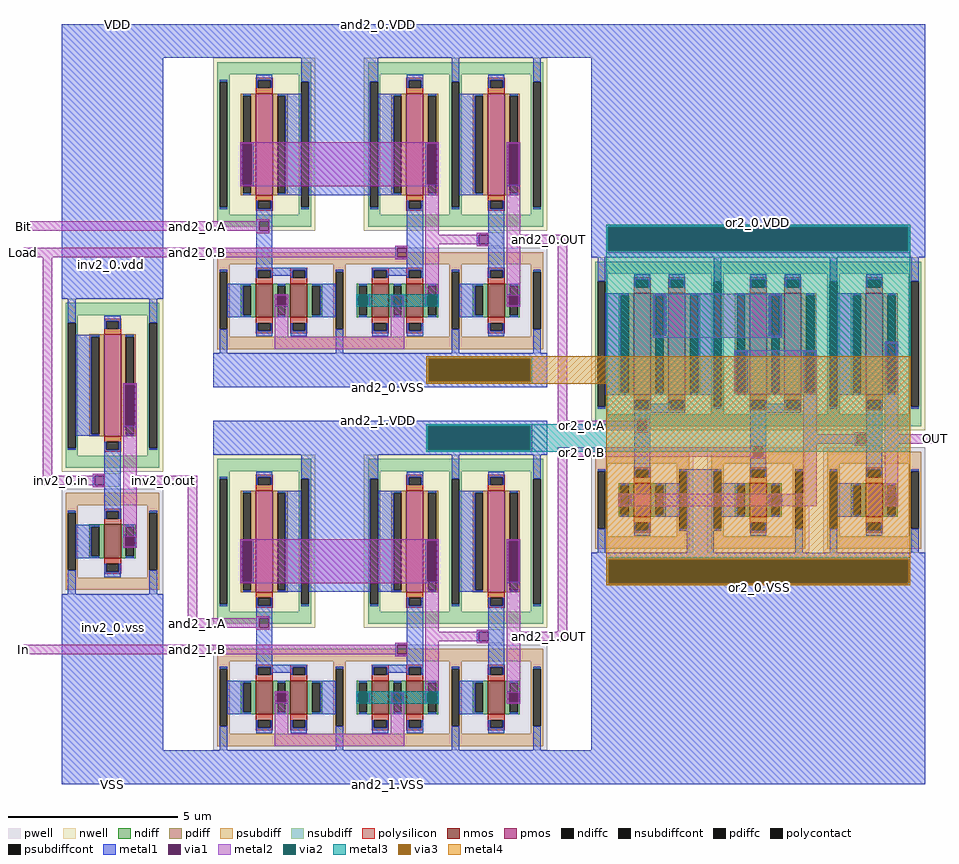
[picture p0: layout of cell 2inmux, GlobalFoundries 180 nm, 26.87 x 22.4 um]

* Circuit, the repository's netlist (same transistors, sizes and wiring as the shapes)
* NGSPICE file created from 2inmux.ext - technology: gf180mcuD

.subckt or2 VDD VSS OUT A B
X0 OUT a_268_670# VSS VSS nfet_03v3 ad=0.44p pd=2.88u as=0.44p ps=2.88u w=1u l=0.5u
X1 OUT a_268_670# VDD VDD pfet_03v3 ad=1.32p pd=6.88u as=1.32p ps=6.88u w=3u l=0.5u
X2 a_456_1390# A VDD VDD pfet_03v3 ad=0.78p pd=3.52u as=1.32p ps=6.88u w=3u l=0.5u
X3 a_456_1390# B a_268_670# VDD pfet_03v3 ad=0.78p pd=3.52u as=1.32p ps=6.88u w=3u l=0.5u
X4 a_268_670# B a_456_1390# VDD pfet_03v3 ad=1.32p pd=6.88u as=0.78p ps=3.52u w=3u l=0.5u
X5 VSS A a_268_670# VSS nfet_03v3 ad=0.44p pd=2.88u as=0.44p ps=2.88u w=1u l=0.5u
X6 VDD A a_456_1390# VDD pfet_03v3 ad=1.32p pd=6.88u as=0.78p ps=3.52u w=3u l=0.5u
X7 a_268_670# B VSS VSS nfet_03v3 ad=0.44p pd=2.88u as=0.44p ps=2.88u w=1u l=0.5u
.ends

.subckt inv2 in vdd out vss
X0 out in vdd vdd pfet_03v3 ad=1.32p pd=6.88u as=1.32p ps=6.88u w=3u l=0.5u
X1 out in vss vss nfet_03v3 ad=0.44p pd=2.88u as=0.44p ps=2.88u w=1u l=0.5u
.ends

.subckt and2 VDD OUT A B VSS
X0 a_n1203_400# B a_n1391_1120# VSS nfet_03v3 ad=0.26p pd=1.52u as=0.44p ps=2.88u w=1u l=0.5u
X1 a_n1203_400# A VSS VSS nfet_03v3 ad=0.26p pd=1.52u as=0.44p ps=2.88u w=1u l=0.5u
X2 a_n1391_1120# B VDD VDD pfet_03v3 ad=1.32p pd=6.88u as=1.32p ps=6.88u w=3u l=0.5u
X3 OUT a_n1391_1120# VDD VDD pfet_03v3 ad=1.32p pd=6.88u as=1.32p ps=6.88u w=3u l=0.5u
X4 OUT a_n1391_1120# VSS VSS nfet_03v3 ad=0.44p pd=2.88u as=0.44p ps=2.88u w=1u l=0.5u
X5 VSS A a_n1203_400# VSS nfet_03v3 ad=0.44p pd=2.88u as=0.26p ps=1.52u w=1u l=0.5u
X6 VDD A a_n1391_1120# VDD pfet_03v3 ad=1.32p pd=6.88u as=1.32p ps=6.88u w=3u l=0.5u
X7 a_n1391_1120# B a_n1203_400# VSS nfet_03v3 ad=0.44p pd=2.88u as=0.26p ps=1.52u w=1u l=0.5u
.ends

.subckt x2inmux Bit Load VDD OUT VSS In
Xor2_0 VDD VSS OUT or2_0/A or2_0/B or2
Xinv2_0 Load VDD and2_1/A VSS inv2
Xand2_0 VDD or2_0/A Bit Load VSS and2
Xand2_1 VDD or2_0/B and2_1/A In VSS and2
.ends

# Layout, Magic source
magic
tech gf180mcuD
magscale 1 10
<< nwell >>
rect 94 920 694 1940
rect 982 920 2062 1940
rect -800 -500 -200 520
rect 2322 -256 4290 764
rect 94 -1420 694 -400
rect 982 -1420 2062 -400
<< pwell >>
rect 1714 831 1800 911
rect 94 200 2062 820
rect 3942 -345 4028 -265
rect -548 -589 -462 -509
rect -800 -1220 -200 -600
rect 2322 -976 2922 -356
rect 3006 -446 3606 -356
rect 3006 -704 3652 -446
rect 3006 -976 3606 -704
rect 3690 -976 4290 -356
rect 1714 -1509 1800 -1429
rect 94 -2140 2062 -1520
<< nmos >>
rect 344 410 444 610
rect 548 410 648 610
rect 1028 410 1128 610
rect 1232 410 1332 610
rect 1712 410 1812 610
rect -550 -1010 -450 -810
rect 2572 -766 2672 -566
rect 3256 -766 3356 -566
rect 3940 -766 4040 -566
rect 344 -1930 444 -1730
rect 548 -1930 648 -1730
rect 1028 -1930 1128 -1730
rect 1232 -1930 1332 -1730
rect 1712 -1930 1812 -1730
<< pmos >>
rect 344 1130 444 1730
rect 1232 1130 1332 1730
rect 1712 1130 1812 1730
rect -550 -290 -450 310
rect 2572 -46 2672 554
rect 2776 -46 2876 554
rect 3256 -46 3356 554
rect 3460 -46 3560 554
rect 3940 -46 4040 554
rect 344 -1210 444 -610
rect 1232 -1210 1332 -610
rect 1712 -1210 1812 -610
<< ndiff >>
rect 256 597 344 610
rect 256 423 269 597
rect 315 423 344 597
rect 256 410 344 423
rect 444 597 548 610
rect 444 423 473 597
rect 519 423 548 597
rect 444 410 548 423
rect 648 597 736 610
rect 648 423 677 597
rect 723 423 736 597
rect 648 410 736 423
rect 940 597 1028 610
rect 940 423 953 597
rect 999 423 1028 597
rect 940 410 1028 423
rect 1128 597 1232 610
rect 1128 423 1157 597
rect 1203 423 1232 597
rect 1128 410 1232 423
rect 1332 597 1420 610
rect 1332 423 1361 597
rect 1407 423 1420 597
rect 1332 410 1420 423
rect 1624 597 1712 610
rect 1624 423 1637 597
rect 1683 423 1712 597
rect 1624 410 1712 423
rect 1812 597 1900 610
rect 1812 423 1841 597
rect 1887 423 1900 597
rect 1812 410 1900 423
rect -638 -823 -550 -810
rect -638 -997 -625 -823
rect -579 -997 -550 -823
rect -638 -1010 -550 -997
rect -450 -823 -362 -810
rect -450 -997 -421 -823
rect -375 -997 -362 -823
rect -450 -1010 -362 -997
rect 2484 -579 2572 -566
rect 2484 -753 2497 -579
rect 2543 -753 2572 -579
rect 2484 -766 2572 -753
rect 2672 -579 2760 -566
rect 2672 -753 2701 -579
rect 2747 -753 2760 -579
rect 2672 -766 2760 -753
rect 3168 -579 3256 -566
rect 3168 -753 3181 -579
rect 3227 -753 3256 -579
rect 3168 -766 3256 -753
rect 3356 -579 3444 -566
rect 3356 -753 3385 -579
rect 3431 -753 3444 -579
rect 3356 -766 3444 -753
rect 3852 -579 3940 -566
rect 3852 -753 3865 -579
rect 3911 -753 3940 -579
rect 3852 -766 3940 -753
rect 4040 -579 4128 -566
rect 4040 -753 4069 -579
rect 4115 -753 4128 -579
rect 4040 -766 4128 -753
rect 256 -1743 344 -1730
rect 256 -1917 269 -1743
rect 315 -1917 344 -1743
rect 256 -1930 344 -1917
rect 444 -1743 548 -1730
rect 444 -1917 473 -1743
rect 519 -1917 548 -1743
rect 444 -1930 548 -1917
rect 648 -1743 736 -1730
rect 648 -1917 677 -1743
rect 723 -1917 736 -1743
rect 648 -1930 736 -1917
rect 940 -1743 1028 -1730
rect 940 -1917 953 -1743
rect 999 -1917 1028 -1743
rect 940 -1930 1028 -1917
rect 1128 -1743 1232 -1730
rect 1128 -1917 1157 -1743
rect 1203 -1917 1232 -1743
rect 1128 -1930 1232 -1917
rect 1332 -1743 1420 -1730
rect 1332 -1917 1361 -1743
rect 1407 -1917 1420 -1743
rect 1332 -1930 1420 -1917
rect 1624 -1743 1712 -1730
rect 1624 -1917 1637 -1743
rect 1683 -1917 1712 -1743
rect 1624 -1930 1712 -1917
rect 1812 -1743 1900 -1730
rect 1812 -1917 1841 -1743
rect 1887 -1917 1900 -1743
rect 1812 -1930 1900 -1917
<< pdiff >>
rect 256 1717 344 1730
rect 256 1143 269 1717
rect 315 1143 344 1717
rect 256 1130 344 1143
rect 444 1717 532 1730
rect 444 1143 473 1717
rect 519 1143 532 1717
rect 444 1130 532 1143
rect 1144 1717 1232 1730
rect 1144 1143 1157 1717
rect 1203 1143 1232 1717
rect 1144 1130 1232 1143
rect 1332 1717 1420 1730
rect 1332 1143 1361 1717
rect 1407 1143 1420 1717
rect 1332 1130 1420 1143
rect 1624 1717 1712 1730
rect 1624 1143 1637 1717
rect 1683 1143 1712 1717
rect 1624 1130 1712 1143
rect 1812 1717 1900 1730
rect 1812 1143 1841 1717
rect 1887 1143 1900 1717
rect 1812 1130 1900 1143
rect -638 297 -550 310
rect -638 -277 -625 297
rect -579 -277 -550 297
rect -638 -290 -550 -277
rect -450 297 -362 310
rect -450 -277 -421 297
rect -375 -277 -362 297
rect -450 -290 -362 -277
rect 2484 541 2572 554
rect 2484 -33 2497 541
rect 2543 -33 2572 541
rect 2484 -46 2572 -33
rect 2672 541 2776 554
rect 2672 -33 2701 541
rect 2747 -33 2776 541
rect 2672 -46 2776 -33
rect 2876 541 2964 554
rect 2876 -33 2905 541
rect 2951 -33 2964 541
rect 2876 -46 2964 -33
rect 3168 541 3256 554
rect 3168 -33 3181 541
rect 3227 -33 3256 541
rect 3168 -46 3256 -33
rect 3356 541 3460 554
rect 3356 -33 3385 541
rect 3431 -33 3460 541
rect 3356 -46 3460 -33
rect 3560 541 3648 554
rect 3560 -33 3589 541
rect 3635 -33 3648 541
rect 3560 -46 3648 -33
rect 3852 541 3940 554
rect 3852 -33 3865 541
rect 3911 -33 3940 541
rect 3852 -46 3940 -33
rect 4040 541 4128 554
rect 4040 -33 4069 541
rect 4115 -33 4128 541
rect 4040 -46 4128 -33
rect 256 -623 344 -610
rect 256 -1197 269 -623
rect 315 -1197 344 -623
rect 256 -1210 344 -1197
rect 444 -623 532 -610
rect 444 -1197 473 -623
rect 519 -1197 532 -623
rect 444 -1210 532 -1197
rect 1144 -623 1232 -610
rect 1144 -1197 1157 -623
rect 1203 -1197 1232 -623
rect 1144 -1210 1232 -1197
rect 1332 -623 1420 -610
rect 1332 -1197 1361 -623
rect 1407 -1197 1420 -623
rect 1332 -1210 1420 -1197
rect 1624 -623 1712 -610
rect 1624 -1197 1637 -623
rect 1683 -1197 1712 -623
rect 1624 -1210 1712 -1197
rect 1812 -623 1900 -610
rect 1812 -1197 1841 -623
rect 1887 -1197 1900 -623
rect 1812 -1210 1900 -1197
<< ndiffc >>
rect 269 423 315 597
rect 473 423 519 597
rect 677 423 723 597
rect 953 423 999 597
rect 1157 423 1203 597
rect 1361 423 1407 597
rect 1637 423 1683 597
rect 1841 423 1887 597
rect -625 -997 -579 -823
rect -421 -997 -375 -823
rect 2497 -753 2543 -579
rect 2701 -753 2747 -579
rect 3181 -753 3227 -579
rect 3385 -753 3431 -579
rect 3865 -753 3911 -579
rect 4069 -753 4115 -579
rect 269 -1917 315 -1743
rect 473 -1917 519 -1743
rect 677 -1917 723 -1743
rect 953 -1917 999 -1743
rect 1157 -1917 1203 -1743
rect 1361 -1917 1407 -1743
rect 1637 -1917 1683 -1743
rect 1841 -1917 1887 -1743
<< pdiffc >>
rect 269 1143 315 1717
rect 473 1143 519 1717
rect 1157 1143 1203 1717
rect 1361 1143 1407 1717
rect 1637 1143 1683 1717
rect 1841 1143 1887 1717
rect -625 -277 -579 297
rect -421 -277 -375 297
rect 2497 -33 2543 541
rect 2701 -33 2747 541
rect 2905 -33 2951 541
rect 3181 -33 3227 541
rect 3385 -33 3431 541
rect 3589 -33 3635 541
rect 3865 -33 3911 541
rect 4069 -33 4115 541
rect 269 -1197 315 -623
rect 473 -1197 519 -623
rect 1157 -1197 1203 -623
rect 1361 -1197 1407 -623
rect 1637 -1197 1683 -623
rect 1841 -1197 1887 -623
<< psubdiff >>
rect 118 724 2038 796
rect 118 680 190 724
rect 118 340 131 680
rect 177 340 190 680
rect 802 680 874 724
rect 118 296 190 340
rect 802 340 815 680
rect 861 340 874 680
rect 1486 680 1558 724
rect 802 296 874 340
rect 1486 340 1499 680
rect 1545 340 1558 680
rect 1966 680 2038 724
rect 1486 296 1558 340
rect 1966 340 1979 680
rect 2025 340 2038 680
rect 1966 296 2038 340
rect 118 224 2038 296
rect -776 -696 -224 -624
rect -776 -740 -704 -696
rect -776 -1080 -763 -740
rect -717 -1080 -704 -740
rect -296 -740 -224 -696
rect -776 -1124 -704 -1080
rect -296 -1080 -283 -740
rect -237 -1080 -224 -740
rect -296 -1124 -224 -1080
rect -776 -1196 -224 -1124
rect 2346 -452 2898 -380
rect 2346 -496 2418 -452
rect 2346 -836 2359 -496
rect 2405 -836 2418 -496
rect 2826 -496 2898 -452
rect 2346 -880 2418 -836
rect 2826 -836 2839 -496
rect 2885 -836 2898 -496
rect 2826 -880 2898 -836
rect 2346 -952 2898 -880
rect 3030 -452 3582 -380
rect 3030 -496 3102 -452
rect 3030 -836 3043 -496
rect 3089 -836 3102 -496
rect 3510 -496 3582 -452
rect 3030 -880 3102 -836
rect 3510 -836 3523 -496
rect 3569 -836 3582 -496
rect 3510 -880 3582 -836
rect 3030 -952 3582 -880
rect 3714 -452 4266 -380
rect 3714 -496 3786 -452
rect 3714 -836 3727 -496
rect 3773 -836 3786 -496
rect 4194 -496 4266 -452
rect 3714 -880 3786 -836
rect 4194 -836 4207 -496
rect 4253 -836 4266 -496
rect 4194 -880 4266 -836
rect 3714 -952 4266 -880
rect 118 -1616 2038 -1544
rect 118 -1660 190 -1616
rect 118 -2000 131 -1660
rect 177 -2000 190 -1660
rect 802 -1660 874 -1616
rect 118 -2044 190 -2000
rect 802 -2000 815 -1660
rect 861 -2000 874 -1660
rect 1486 -1660 1558 -1616
rect 802 -2044 874 -2000
rect 1486 -2000 1499 -1660
rect 1545 -2000 1558 -1660
rect 1966 -1660 2038 -1616
rect 1486 -2044 1558 -2000
rect 1966 -2000 1979 -1660
rect 2025 -2000 2038 -1660
rect 1966 -2044 2038 -2000
rect 118 -2116 2038 -2044
<< nsubdiff >>
rect 118 1844 670 1916
rect 118 1800 190 1844
rect 118 1060 131 1800
rect 177 1060 190 1800
rect 598 1800 670 1844
rect 118 1016 190 1060
rect 598 1060 611 1800
rect 657 1060 670 1800
rect 598 1016 670 1060
rect 118 944 670 1016
rect 1006 1844 2038 1916
rect 1006 1800 1078 1844
rect 1006 1060 1019 1800
rect 1065 1060 1078 1800
rect 1486 1800 1558 1844
rect 1006 1016 1078 1060
rect 1486 1060 1499 1800
rect 1545 1060 1558 1800
rect 1966 1800 2038 1844
rect 1486 1016 1558 1060
rect 1966 1060 1979 1800
rect 2025 1060 2038 1800
rect 1966 1016 2038 1060
rect 1006 944 2038 1016
rect -776 424 -224 496
rect -776 380 -704 424
rect -776 -360 -763 380
rect -717 -360 -704 380
rect -296 380 -224 424
rect -776 -404 -704 -360
rect -296 -360 -283 380
rect -237 -360 -224 380
rect 2346 668 4266 740
rect 2346 624 2418 668
rect 2346 -116 2359 624
rect 2405 -116 2418 624
rect 3030 624 3102 668
rect 2346 -160 2418 -116
rect 3030 -116 3043 624
rect 3089 -116 3102 624
rect 3714 624 3786 668
rect 3030 -160 3102 -116
rect 3714 -116 3727 624
rect 3773 -116 3786 624
rect 4194 624 4266 668
rect 3714 -160 3786 -116
rect 4194 -116 4207 624
rect 4253 -116 4266 624
rect 4194 -160 4266 -116
rect 2346 -232 4266 -160
rect -296 -404 -224 -360
rect -776 -476 -224 -404
rect 118 -496 670 -424
rect 118 -540 190 -496
rect 118 -1280 131 -540
rect 177 -1280 190 -540
rect 598 -540 670 -496
rect 118 -1324 190 -1280
rect 598 -1280 611 -540
rect 657 -1280 670 -540
rect 598 -1324 670 -1280
rect 118 -1396 670 -1324
rect 1006 -496 2038 -424
rect 1006 -540 1078 -496
rect 1006 -1280 1019 -540
rect 1065 -1280 1078 -540
rect 1486 -540 1558 -496
rect 1006 -1324 1078 -1280
rect 1486 -1280 1499 -540
rect 1545 -1280 1558 -540
rect 1966 -540 2038 -496
rect 1486 -1324 1558 -1280
rect 1966 -1280 1979 -540
rect 2025 -1280 2038 -540
rect 1966 -1324 2038 -1280
rect 1006 -1396 2038 -1324
<< psubdiffcont >>
rect 131 340 177 680
rect 815 340 861 680
rect 1499 340 1545 680
rect 1979 340 2025 680
rect -763 -1080 -717 -740
rect -283 -1080 -237 -740
rect 2359 -836 2405 -496
rect 2839 -836 2885 -496
rect 3043 -836 3089 -496
rect 3523 -836 3569 -496
rect 3727 -836 3773 -496
rect 4207 -836 4253 -496
rect 131 -2000 177 -1660
rect 815 -2000 861 -1660
rect 1499 -2000 1545 -1660
rect 1979 -2000 2025 -1660
<< nsubdiffcont >>
rect 131 1060 177 1800
rect 611 1060 657 1800
rect 1019 1060 1065 1800
rect 1499 1060 1545 1800
rect 1979 1060 2025 1800
rect -763 -360 -717 380
rect -283 -360 -237 380
rect 2359 -116 2405 624
rect 3043 -116 3089 624
rect 3727 -116 3773 624
rect 4207 -116 4253 624
rect 131 -1280 177 -540
rect 611 -1280 657 -540
rect 1019 -1280 1065 -540
rect 1499 -1280 1545 -540
rect 1979 -1280 2025 -540
<< polysilicon >>
rect 344 1809 444 1822
rect 344 1763 357 1809
rect 431 1763 444 1809
rect 344 1730 444 1763
rect 344 1097 444 1130
rect 344 1051 357 1097
rect 431 1051 444 1097
rect 344 1038 444 1051
rect 1232 1809 1332 1822
rect 1232 1763 1245 1809
rect 1319 1763 1332 1809
rect 1232 1730 1332 1763
rect 1232 1097 1332 1130
rect 1232 1051 1245 1097
rect 1319 1051 1332 1097
rect 1232 1038 1332 1051
rect 1712 1809 1812 1822
rect 1712 1763 1725 1809
rect 1799 1763 1812 1809
rect 1712 1730 1812 1763
rect 1712 1097 1812 1130
rect 1712 1051 1725 1097
rect 1799 1051 1812 1097
rect 1712 1038 1812 1051
rect -550 389 -450 402
rect -550 343 -537 389
rect -463 343 -450 389
rect -550 310 -450 343
rect -550 -323 -450 -290
rect -550 -369 -537 -323
rect -463 -369 -450 -323
rect -550 -382 -450 -369
rect 344 689 444 702
rect 344 643 357 689
rect 431 643 444 689
rect 344 610 444 643
rect 548 689 648 702
rect 548 643 561 689
rect 635 643 648 689
rect 548 610 648 643
rect 344 377 444 410
rect 344 331 357 377
rect 431 331 444 377
rect 344 318 444 331
rect 548 377 648 410
rect 548 331 561 377
rect 635 331 648 377
rect 548 318 648 331
rect 1028 689 1128 702
rect 1028 643 1041 689
rect 1115 643 1128 689
rect 1028 610 1128 643
rect 1232 689 1332 702
rect 1232 643 1245 689
rect 1319 643 1332 689
rect 1232 610 1332 643
rect 1028 377 1128 410
rect 1028 331 1041 377
rect 1115 331 1128 377
rect 1028 318 1128 331
rect 1232 377 1332 410
rect 1232 331 1245 377
rect 1319 331 1332 377
rect 1232 318 1332 331
rect 1712 689 1812 702
rect 1712 643 1725 689
rect 1799 643 1812 689
rect 1712 610 1812 643
rect 1712 377 1812 410
rect 1712 331 1725 377
rect 1799 331 1812 377
rect 1712 318 1812 331
rect 2572 633 2672 646
rect 2572 587 2585 633
rect 2659 587 2672 633
rect 2572 554 2672 587
rect 2776 633 2876 646
rect 2776 587 2789 633
rect 2863 587 2876 633
rect 2776 554 2876 587
rect 2572 -79 2672 -46
rect 2572 -125 2585 -79
rect 2659 -125 2672 -79
rect 2572 -138 2672 -125
rect 2776 -79 2876 -46
rect 2776 -125 2789 -79
rect 2863 -125 2876 -79
rect 2776 -138 2876 -125
rect 3256 633 3356 646
rect 3256 587 3269 633
rect 3343 587 3356 633
rect 3256 554 3356 587
rect 3460 633 3560 646
rect 3460 587 3473 633
rect 3547 587 3560 633
rect 3460 554 3560 587
rect 3256 -79 3356 -46
rect 3256 -125 3269 -79
rect 3343 -125 3356 -79
rect 3256 -138 3356 -125
rect 3460 -79 3560 -46
rect 3460 -125 3473 -79
rect 3547 -125 3560 -79
rect 3460 -138 3560 -125
rect 3940 633 4040 646
rect 3940 587 3953 633
rect 4027 587 4040 633
rect 3940 554 4040 587
rect 3940 -79 4040 -46
rect 3940 -125 3953 -79
rect 4027 -125 4040 -79
rect 3940 -138 4040 -125
rect -550 -731 -450 -718
rect -550 -777 -537 -731
rect -463 -777 -450 -731
rect -550 -810 -450 -777
rect -550 -1043 -450 -1010
rect -550 -1089 -537 -1043
rect -463 -1089 -450 -1043
rect -550 -1102 -450 -1089
rect 344 -531 444 -518
rect 344 -577 357 -531
rect 431 -577 444 -531
rect 344 -610 444 -577
rect 344 -1243 444 -1210
rect 344 -1289 357 -1243
rect 431 -1289 444 -1243
rect 344 -1302 444 -1289
rect 1232 -531 1332 -518
rect 1232 -577 1245 -531
rect 1319 -577 1332 -531
rect 1232 -610 1332 -577
rect 1232 -1243 1332 -1210
rect 1232 -1289 1245 -1243
rect 1319 -1289 1332 -1243
rect 1232 -1302 1332 -1289
rect 1712 -531 1812 -518
rect 1712 -577 1725 -531
rect 1799 -577 1812 -531
rect 1712 -610 1812 -577
rect 1712 -1243 1812 -1210
rect 1712 -1289 1725 -1243
rect 1799 -1289 1812 -1243
rect 1712 -1302 1812 -1289
rect 2572 -487 2672 -474
rect 2572 -533 2585 -487
rect 2659 -533 2672 -487
rect 2572 -566 2672 -533
rect 2572 -799 2672 -766
rect 2572 -845 2585 -799
rect 2659 -845 2672 -799
rect 2572 -858 2672 -845
rect 3256 -487 3356 -474
rect 3256 -533 3269 -487
rect 3343 -533 3356 -487
rect 3256 -566 3356 -533
rect 3256 -799 3356 -766
rect 3256 -845 3269 -799
rect 3343 -845 3356 -799
rect 3256 -858 3356 -845
rect 3940 -487 4040 -474
rect 3940 -533 3953 -487
rect 4027 -533 4040 -487
rect 3940 -566 4040 -533
rect 3940 -799 4040 -766
rect 3940 -845 3953 -799
rect 4027 -845 4040 -799
rect 3940 -858 4040 -845
rect 344 -1651 444 -1638
rect 344 -1697 357 -1651
rect 431 -1697 444 -1651
rect 344 -1730 444 -1697
rect 548 -1651 648 -1638
rect 548 -1697 561 -1651
rect 635 -1697 648 -1651
rect 548 -1730 648 -1697
rect 344 -1963 444 -1930
rect 344 -2009 357 -1963
rect 431 -2009 444 -1963
rect 344 -2022 444 -2009
rect 548 -1963 648 -1930
rect 548 -2009 561 -1963
rect 635 -2009 648 -1963
rect 548 -2022 648 -2009
rect 1028 -1651 1128 -1638
rect 1028 -1697 1041 -1651
rect 1115 -1697 1128 -1651
rect 1028 -1730 1128 -1697
rect 1232 -1651 1332 -1638
rect 1232 -1697 1245 -1651
rect 1319 -1697 1332 -1651
rect 1232 -1730 1332 -1697
rect 1028 -1963 1128 -1930
rect 1028 -2009 1041 -1963
rect 1115 -2009 1128 -1963
rect 1028 -2022 1128 -2009
rect 1232 -1963 1332 -1930
rect 1232 -2009 1245 -1963
rect 1319 -2009 1332 -1963
rect 1232 -2022 1332 -2009
rect 1712 -1651 1812 -1638
rect 1712 -1697 1725 -1651
rect 1799 -1697 1812 -1651
rect 1712 -1730 1812 -1697
rect 1712 -1963 1812 -1930
rect 1712 -2009 1725 -1963
rect 1799 -2009 1812 -1963
rect 1712 -2022 1812 -2009
<< polycontact >>
rect 357 1763 431 1809
rect 357 1051 431 1097
rect 1245 1763 1319 1809
rect 1245 1051 1319 1097
rect 1725 1763 1799 1809
rect 1725 1051 1799 1097
rect -537 343 -463 389
rect -537 -369 -463 -323
rect 357 643 431 689
rect 561 643 635 689
rect 357 331 431 377
rect 561 331 635 377
rect 1041 643 1115 689
rect 1245 643 1319 689
rect 1041 331 1115 377
rect 1245 331 1319 377
rect 1725 643 1799 689
rect 1725 331 1799 377
rect 2585 587 2659 633
rect 2789 587 2863 633
rect 2585 -125 2659 -79
rect 2789 -125 2863 -79
rect 3269 587 3343 633
rect 3473 587 3547 633
rect 3269 -125 3343 -79
rect 3473 -125 3547 -79
rect 3953 587 4027 633
rect 3953 -125 4027 -79
rect -537 -777 -463 -731
rect -537 -1089 -463 -1043
rect 357 -577 431 -531
rect 357 -1289 431 -1243
rect 1245 -577 1319 -531
rect 1245 -1289 1319 -1243
rect 1725 -577 1799 -531
rect 1725 -1289 1799 -1243
rect 2585 -533 2659 -487
rect 2585 -845 2659 -799
rect 3269 -533 3343 -487
rect 3269 -845 3343 -799
rect 3953 -533 4027 -487
rect 3953 -845 4027 -799
rect 357 -1697 431 -1651
rect 561 -1697 635 -1651
rect 357 -2009 431 -1963
rect 561 -2009 635 -1963
rect 1041 -1697 1115 -1651
rect 1245 -1697 1319 -1651
rect 1041 -2009 1115 -1963
rect 1245 -2009 1319 -1963
rect 1725 -1697 1799 -1651
rect 1725 -2009 1799 -1963
<< metal1 >>
rect -800 1940 4290 2140
rect -800 520 -200 1940
rect 131 1800 177 1811
rect 346 1809 442 1840
rect 346 1763 357 1809
rect 431 1763 442 1809
rect 611 1800 1065 1940
rect 269 1717 315 1728
rect 252 1433 269 1443
rect 473 1717 611 1728
rect 315 1433 332 1443
rect 252 1193 264 1433
rect 320 1193 332 1433
rect 252 1183 269 1193
rect 315 1183 332 1193
rect 269 1132 315 1143
rect 519 1143 611 1717
rect 473 1132 611 1143
rect 131 1049 177 1060
rect 346 1051 357 1097
rect 431 1051 442 1097
rect 346 976 442 1051
rect 657 1132 1019 1800
rect 611 1049 657 1060
rect 1234 1809 1330 1840
rect 1234 1763 1245 1809
rect 1319 1763 1330 1809
rect 1499 1800 1545 1940
rect 1065 1717 1203 1728
rect 1065 1143 1157 1717
rect 1361 1717 1407 1728
rect 1344 1433 1361 1443
rect 1407 1433 1424 1443
rect 1344 1193 1356 1433
rect 1412 1193 1424 1433
rect 1344 1183 1361 1193
rect 1065 1132 1203 1143
rect 1407 1183 1424 1193
rect 1361 1132 1407 1143
rect 1019 1049 1065 1060
rect 1234 1051 1245 1097
rect 1319 1051 1330 1097
rect 346 920 366 976
rect 422 920 442 976
rect 346 702 442 920
rect 1234 832 1330 1051
rect 1714 1809 1810 1840
rect 1714 1763 1725 1809
rect 1799 1763 1810 1809
rect 1979 1800 2025 1940
rect 1545 1717 1683 1728
rect 1545 1143 1637 1717
rect 1841 1717 1887 1728
rect 1824 1433 1841 1443
rect 1887 1433 1904 1443
rect 1824 1193 1836 1433
rect 1892 1193 1904 1433
rect 1824 1183 1841 1193
rect 1545 1132 1683 1143
rect 1887 1183 1904 1193
rect 1841 1132 1887 1143
rect 1499 1049 1545 1060
rect 1714 1051 1725 1097
rect 1799 1051 1810 1097
rect 1714 910 1810 1051
rect 1979 1049 2025 1060
rect 1166 820 1330 832
rect 1646 898 1810 910
rect 1646 842 1658 898
rect 1714 842 1810 898
rect 1646 830 1810 842
rect 1166 764 1178 820
rect 1234 764 1330 820
rect 1166 752 1330 764
rect 1234 702 1330 752
rect 131 680 177 691
rect -763 380 -717 520
rect -548 389 -452 420
rect -548 343 -537 389
rect -463 343 -452 389
rect -283 380 -237 520
rect -717 297 -579 308
rect -717 -277 -625 297
rect -421 297 -375 308
rect -438 13 -421 23
rect -375 13 -358 23
rect -438 -227 -426 13
rect -370 -227 -358 13
rect -438 -237 -421 -227
rect -717 -288 -579 -277
rect -375 -237 -358 -227
rect -421 -288 -375 -277
rect -763 -371 -717 -360
rect -548 -369 -537 -323
rect -463 -369 -452 -323
rect -548 -510 -452 -369
rect 346 689 646 702
rect 346 643 357 689
rect 431 656 561 689
rect 431 643 442 656
rect 550 643 561 656
rect 635 643 646 689
rect 815 680 861 691
rect 177 597 315 608
rect 177 423 269 597
rect 473 597 519 608
rect 456 538 473 548
rect 677 597 815 608
rect 519 538 536 548
rect 456 482 468 538
rect 524 482 536 538
rect 456 472 473 482
rect 177 412 315 423
rect 519 472 536 482
rect 473 412 519 423
rect 723 423 815 597
rect 677 412 815 423
rect 131 200 177 340
rect 346 331 357 377
rect 431 331 442 377
rect 346 300 442 331
rect 550 331 561 377
rect 635 331 646 377
rect 550 300 646 331
rect 1030 689 1330 702
rect 1030 643 1041 689
rect 1115 656 1245 689
rect 1115 643 1126 656
rect 1234 643 1245 656
rect 1319 643 1330 689
rect 1499 680 1545 691
rect 953 597 999 608
rect 936 538 953 548
rect 1157 597 1203 608
rect 999 538 1016 548
rect 936 482 948 538
rect 1004 482 1016 538
rect 936 472 953 482
rect 999 472 1016 482
rect 1140 538 1157 548
rect 1361 597 1407 608
rect 1203 538 1220 548
rect 1140 482 1152 538
rect 1208 482 1220 538
rect 1140 472 1157 482
rect 953 412 999 423
rect 1203 472 1220 482
rect 1344 538 1361 548
rect 1407 538 1424 548
rect 1344 482 1356 538
rect 1412 482 1424 538
rect 1344 472 1361 482
rect 1157 412 1203 423
rect 1407 472 1424 482
rect 1361 412 1407 423
rect 815 200 861 340
rect 1030 331 1041 377
rect 1115 331 1126 377
rect 1030 300 1126 331
rect 1234 331 1245 377
rect 1319 331 1330 377
rect 1234 300 1330 331
rect 1714 689 1810 830
rect 2322 944 4290 1940
rect 2322 804 2422 944
rect 4190 804 4290 944
rect 2322 764 4290 804
rect 1714 643 1725 689
rect 1799 643 1810 689
rect 1979 680 2025 691
rect 1545 597 1683 608
rect 1545 423 1637 597
rect 1841 597 1887 608
rect 1824 538 1841 548
rect 1887 538 1904 548
rect 1824 482 1836 538
rect 1892 482 1904 538
rect 1824 472 1841 482
rect 1545 412 1683 423
rect 1887 472 1904 482
rect 1841 412 1887 423
rect 1499 200 1545 340
rect 1714 331 1725 377
rect 1799 331 1810 377
rect 1714 300 1810 331
rect 1979 200 2025 340
rect 2359 624 2405 764
rect 94 170 2062 200
rect 94 30 1362 170
rect 1962 30 2062 170
rect 94 0 2062 30
rect 2574 633 2670 664
rect 2574 587 2585 633
rect 2659 587 2670 633
rect 2778 633 2874 664
rect 2778 587 2789 633
rect 2863 587 2874 633
rect 3043 624 3089 764
rect 2405 541 2543 552
rect 2701 541 2747 552
rect 2905 541 3043 552
rect 2405 -33 2497 541
rect 2684 301 2696 541
rect 2752 301 2764 541
rect 2405 -44 2543 -33
rect 2701 -44 2747 -33
rect 2951 -33 3043 541
rect 2905 -44 3043 -33
rect 2359 -127 2405 -116
rect 2574 -125 2585 -79
rect 2659 -99 2670 -79
rect 2778 -99 2789 -79
rect 2659 -125 2789 -99
rect 2863 -125 2874 -79
rect 2574 -152 2874 -125
rect 3258 633 3354 664
rect 3258 587 3269 633
rect 3343 587 3354 633
rect 3462 633 3558 664
rect 3462 587 3473 633
rect 3547 587 3558 633
rect 3727 624 3773 764
rect 3181 541 3227 552
rect 3385 541 3431 552
rect 3589 541 3635 552
rect 3368 301 3380 541
rect 3436 301 3448 541
rect 3164 -33 3176 207
rect 3232 -33 3244 207
rect 3572 -33 3584 207
rect 3640 -33 3652 207
rect 3181 -44 3227 -33
rect 3385 -44 3431 -33
rect 3589 -44 3635 -33
rect 3043 -127 3089 -116
rect 3258 -125 3269 -79
rect 3343 -99 3354 -79
rect 3462 -99 3473 -79
rect 3343 -125 3473 -99
rect 3547 -125 3558 -79
rect 3258 -152 3558 -125
rect 3942 633 4038 664
rect 3942 587 3953 633
rect 4027 587 4038 633
rect 4207 624 4253 764
rect 3773 541 3911 552
rect 3773 -33 3865 541
rect 4069 541 4115 552
rect 4052 257 4069 267
rect 4115 257 4132 267
rect 4052 17 4064 257
rect 4120 17 4132 257
rect 4052 7 4069 17
rect 3773 -44 3911 -33
rect 4115 7 4132 17
rect 4069 -44 4115 -33
rect 3727 -127 3773 -116
rect 3942 -125 3953 -79
rect 4027 -125 4038 -79
rect 2574 -200 2670 -152
rect -283 -371 -237 -360
rect 94 -230 2062 -200
rect 94 -370 1362 -230
rect 1962 -370 2062 -230
rect 94 -400 2062 -370
rect 2574 -256 2594 -200
rect 2650 -256 2670 -200
rect -616 -522 -452 -510
rect -616 -578 -604 -522
rect -548 -578 -452 -522
rect -616 -590 -452 -578
rect -763 -740 -717 -729
rect -548 -731 -452 -590
rect 131 -540 177 -529
rect -548 -777 -537 -731
rect -463 -777 -452 -731
rect -283 -740 -237 -729
rect -717 -823 -579 -812
rect -717 -997 -625 -823
rect -421 -823 -375 -812
rect -438 -882 -421 -872
rect -375 -882 -358 -872
rect -438 -938 -426 -882
rect -370 -938 -358 -882
rect -438 -948 -421 -938
rect -717 -1008 -579 -997
rect -375 -948 -358 -938
rect -421 -1008 -375 -997
rect -763 -1220 -717 -1080
rect -548 -1089 -537 -1043
rect -463 -1089 -452 -1043
rect -548 -1120 -452 -1089
rect -283 -1220 -237 -1080
rect -800 -2140 -200 -1220
rect 346 -531 442 -500
rect 346 -577 357 -531
rect 431 -577 442 -531
rect 611 -540 1065 -400
rect 269 -623 315 -612
rect 252 -907 269 -897
rect 473 -623 611 -612
rect 315 -907 332 -897
rect 252 -1147 264 -907
rect 320 -1147 332 -907
rect 252 -1157 269 -1147
rect 315 -1157 332 -1147
rect 269 -1208 315 -1197
rect 519 -1197 611 -623
rect 473 -1208 611 -1197
rect 131 -1291 177 -1280
rect 346 -1289 357 -1243
rect 431 -1289 442 -1243
rect 346 -1364 442 -1289
rect 657 -1208 1019 -540
rect 611 -1291 657 -1280
rect 1234 -531 1330 -500
rect 1234 -577 1245 -531
rect 1319 -577 1330 -531
rect 1499 -540 1545 -400
rect 1065 -623 1203 -612
rect 1065 -1197 1157 -623
rect 1361 -623 1407 -612
rect 1344 -907 1361 -897
rect 1407 -907 1424 -897
rect 1344 -1147 1356 -907
rect 1412 -1147 1424 -907
rect 1344 -1157 1361 -1147
rect 1065 -1208 1203 -1197
rect 1407 -1157 1424 -1147
rect 1361 -1208 1407 -1197
rect 1019 -1291 1065 -1280
rect 1234 -1289 1245 -1243
rect 1319 -1289 1330 -1243
rect 346 -1420 366 -1364
rect 422 -1420 442 -1364
rect 346 -1638 442 -1420
rect 1234 -1508 1330 -1289
rect 1714 -531 1810 -500
rect 1714 -577 1725 -531
rect 1799 -577 1810 -531
rect 1979 -540 2025 -400
rect 1545 -623 1683 -612
rect 1545 -1197 1637 -623
rect 1841 -623 1887 -612
rect 1824 -907 1841 -897
rect 1887 -907 1904 -897
rect 1824 -1147 1836 -907
rect 1892 -1147 1904 -907
rect 1824 -1157 1841 -1147
rect 1545 -1208 1683 -1197
rect 1887 -1157 1904 -1147
rect 1841 -1208 1887 -1197
rect 1499 -1291 1545 -1280
rect 1714 -1289 1725 -1243
rect 1799 -1289 1810 -1243
rect 1714 -1430 1810 -1289
rect 2359 -496 2405 -485
rect 2574 -487 2670 -256
rect 3258 -356 3354 -152
rect 3942 -266 4038 -125
rect 4207 -127 4253 -116
rect 3874 -278 4038 -266
rect 3874 -334 3886 -278
rect 3942 -334 4038 -278
rect 3874 -346 4038 -334
rect 3258 -412 3278 -356
rect 3334 -412 3354 -356
rect 2574 -533 2585 -487
rect 2659 -533 2670 -487
rect 2839 -496 3089 -485
rect 2497 -579 2543 -568
rect 2480 -638 2497 -628
rect 2701 -579 2839 -568
rect 2543 -638 2560 -628
rect 2480 -694 2492 -638
rect 2548 -694 2560 -638
rect 2480 -704 2497 -694
rect 2543 -704 2560 -694
rect 2497 -764 2543 -753
rect 2747 -753 2839 -579
rect 2701 -764 2839 -753
rect 2359 -976 2405 -836
rect 2574 -845 2585 -799
rect 2659 -845 2670 -799
rect 2574 -876 2670 -845
rect 2885 -836 3043 -496
rect 3258 -487 3354 -412
rect 3258 -533 3269 -487
rect 3343 -533 3354 -487
rect 3523 -496 3569 -485
rect 3089 -579 3227 -568
rect 3089 -753 3181 -579
rect 3385 -579 3431 -568
rect 3368 -638 3385 -628
rect 3431 -638 3448 -628
rect 3368 -694 3380 -638
rect 3436 -694 3448 -638
rect 3368 -704 3385 -694
rect 3089 -764 3227 -753
rect 3431 -704 3448 -694
rect 3385 -764 3431 -753
rect 2839 -847 3089 -836
rect 3258 -845 3269 -799
rect 3343 -845 3354 -799
rect 2885 -976 3043 -847
rect 3258 -876 3354 -845
rect 3523 -976 3569 -836
rect 3727 -496 3773 -485
rect 3942 -487 4038 -346
rect 3942 -533 3953 -487
rect 4027 -533 4038 -487
rect 4207 -496 4253 -485
rect 3773 -579 3911 -568
rect 3773 -753 3865 -579
rect 4069 -579 4115 -568
rect 4052 -638 4069 -628
rect 4115 -638 4132 -628
rect 4052 -694 4064 -638
rect 4120 -694 4132 -638
rect 4052 -704 4069 -694
rect 3773 -764 3911 -753
rect 4115 -704 4132 -694
rect 4069 -764 4115 -753
rect 3727 -976 3773 -836
rect 3942 -845 3953 -799
rect 4027 -845 4038 -799
rect 3942 -876 4038 -845
rect 4207 -976 4253 -836
rect 1979 -1291 2025 -1280
rect 2322 -1016 4290 -976
rect 2322 -1156 2422 -1016
rect 4190 -1156 4290 -1016
rect 1166 -1520 1330 -1508
rect 1646 -1442 1810 -1430
rect 1646 -1498 1658 -1442
rect 1714 -1498 1810 -1442
rect 1646 -1510 1810 -1498
rect 1166 -1576 1178 -1520
rect 1234 -1576 1330 -1520
rect 1166 -1588 1330 -1576
rect 1234 -1638 1330 -1588
rect 131 -1660 177 -1649
rect 346 -1651 646 -1638
rect 346 -1697 357 -1651
rect 431 -1684 561 -1651
rect 431 -1697 442 -1684
rect 550 -1697 561 -1684
rect 635 -1697 646 -1651
rect 815 -1660 861 -1649
rect 177 -1743 315 -1732
rect 177 -1917 269 -1743
rect 473 -1743 519 -1732
rect 456 -1802 473 -1792
rect 677 -1743 815 -1732
rect 519 -1802 536 -1792
rect 456 -1858 468 -1802
rect 524 -1858 536 -1802
rect 456 -1868 473 -1858
rect 177 -1928 315 -1917
rect 519 -1868 536 -1858
rect 473 -1928 519 -1917
rect 723 -1917 815 -1743
rect 677 -1928 815 -1917
rect 131 -2140 177 -2000
rect 346 -2009 357 -1963
rect 431 -2009 442 -1963
rect 346 -2040 442 -2009
rect 550 -2009 561 -1963
rect 635 -2009 646 -1963
rect 550 -2040 646 -2009
rect 1030 -1651 1330 -1638
rect 1030 -1697 1041 -1651
rect 1115 -1684 1245 -1651
rect 1115 -1697 1126 -1684
rect 1234 -1697 1245 -1684
rect 1319 -1697 1330 -1651
rect 1499 -1660 1545 -1649
rect 953 -1743 999 -1732
rect 936 -1802 953 -1792
rect 1157 -1743 1203 -1732
rect 999 -1802 1016 -1792
rect 936 -1858 948 -1802
rect 1004 -1858 1016 -1802
rect 936 -1868 953 -1858
rect 999 -1868 1016 -1858
rect 1140 -1802 1157 -1792
rect 1361 -1743 1407 -1732
rect 1203 -1802 1220 -1792
rect 1140 -1858 1152 -1802
rect 1208 -1858 1220 -1802
rect 1140 -1868 1157 -1858
rect 953 -1928 999 -1917
rect 1203 -1868 1220 -1858
rect 1344 -1802 1361 -1792
rect 1407 -1802 1424 -1792
rect 1344 -1858 1356 -1802
rect 1412 -1858 1424 -1802
rect 1344 -1868 1361 -1858
rect 1157 -1928 1203 -1917
rect 1407 -1868 1424 -1858
rect 1361 -1928 1407 -1917
rect 815 -2140 861 -2000
rect 1030 -2009 1041 -1963
rect 1115 -2009 1126 -1963
rect 1030 -2040 1126 -2009
rect 1234 -2009 1245 -1963
rect 1319 -2009 1330 -1963
rect 1234 -2040 1330 -2009
rect 1714 -1651 1810 -1510
rect 1714 -1697 1725 -1651
rect 1799 -1697 1810 -1651
rect 1979 -1660 2025 -1649
rect 1545 -1743 1683 -1732
rect 1545 -1917 1637 -1743
rect 1841 -1743 1887 -1732
rect 1824 -1802 1841 -1792
rect 1887 -1802 1904 -1792
rect 1824 -1858 1836 -1802
rect 1892 -1858 1904 -1802
rect 1824 -1868 1841 -1858
rect 1545 -1928 1683 -1917
rect 1887 -1868 1904 -1858
rect 1841 -1928 1887 -1917
rect 1499 -2140 1545 -2000
rect 1714 -2009 1725 -1963
rect 1799 -2009 1810 -1963
rect 1714 -2040 1810 -2009
rect 1979 -2140 2025 -2000
rect 2322 -2140 4290 -1156
rect -800 -2340 4290 -2140
<< via1 >>
rect 264 1193 269 1433
rect 269 1193 315 1433
rect 315 1193 320 1433
rect 1356 1193 1361 1433
rect 1361 1193 1407 1433
rect 1407 1193 1412 1433
rect 366 920 422 976
rect 1836 1193 1841 1433
rect 1841 1193 1887 1433
rect 1887 1193 1892 1433
rect 1658 842 1714 898
rect 1178 764 1234 820
rect -426 -227 -421 13
rect -421 -227 -375 13
rect -375 -227 -370 13
rect 468 482 473 538
rect 473 482 519 538
rect 519 482 524 538
rect 948 482 953 538
rect 953 482 999 538
rect 999 482 1004 538
rect 1152 482 1157 538
rect 1157 482 1203 538
rect 1203 482 1208 538
rect 1356 482 1361 538
rect 1361 482 1407 538
rect 1407 482 1412 538
rect 2422 804 4190 944
rect 1836 482 1841 538
rect 1841 482 1887 538
rect 1887 482 1892 538
rect 1362 30 1962 170
rect 2696 301 2701 541
rect 2701 301 2747 541
rect 2747 301 2752 541
rect 3380 301 3385 541
rect 3385 301 3431 541
rect 3431 301 3436 541
rect 3176 -33 3181 207
rect 3181 -33 3227 207
rect 3227 -33 3232 207
rect 3584 -33 3589 207
rect 3589 -33 3635 207
rect 3635 -33 3640 207
rect 4064 17 4069 257
rect 4069 17 4115 257
rect 4115 17 4120 257
rect 1362 -370 1962 -230
rect 2594 -256 2650 -200
rect -604 -578 -548 -522
rect -426 -938 -421 -882
rect -421 -938 -375 -882
rect -375 -938 -370 -882
rect 264 -1147 269 -907
rect 269 -1147 315 -907
rect 315 -1147 320 -907
rect 1356 -1147 1361 -907
rect 1361 -1147 1407 -907
rect 1407 -1147 1412 -907
rect 366 -1420 422 -1364
rect 1836 -1147 1841 -907
rect 1841 -1147 1887 -907
rect 1887 -1147 1892 -907
rect 3886 -334 3942 -278
rect 3278 -412 3334 -356
rect 2492 -694 2497 -638
rect 2497 -694 2543 -638
rect 2543 -694 2548 -638
rect 3380 -694 3385 -638
rect 3385 -694 3431 -638
rect 3431 -694 3436 -638
rect 4064 -694 4069 -638
rect 4069 -694 4115 -638
rect 4115 -694 4120 -638
rect 2422 -1156 4190 -1016
rect 1658 -1498 1714 -1442
rect 1178 -1576 1234 -1520
rect 468 -1858 473 -1802
rect 473 -1858 519 -1802
rect 519 -1858 524 -1802
rect 948 -1858 953 -1802
rect 953 -1858 999 -1802
rect 999 -1858 1004 -1802
rect 1152 -1858 1157 -1802
rect 1157 -1858 1203 -1802
rect 1203 -1858 1208 -1802
rect 1356 -1858 1361 -1802
rect 1361 -1858 1407 -1802
rect 1407 -1858 1412 -1802
rect 1836 -1858 1841 -1802
rect 1841 -1858 1887 -1802
rect 1887 -1858 1892 -1802
<< metal2 >>
rect 252 1433 1424 1443
rect 252 1193 264 1433
rect 320 1193 1356 1433
rect 1412 1193 1424 1433
rect 252 1183 1424 1193
rect 346 976 424 988
rect -1024 920 366 976
rect 422 920 424 976
rect 346 908 424 920
rect 1344 898 1424 1183
rect 1824 1433 1904 1443
rect 1824 1193 1836 1433
rect 1892 1193 1904 1433
rect 1646 898 1716 910
rect 1344 842 1658 898
rect 1714 842 1716 898
rect 1166 820 1236 832
rect -1024 764 1178 820
rect 1234 764 1236 820
rect -912 -522 -856 764
rect 1166 752 1236 764
rect 456 538 536 548
rect 456 482 468 538
rect 524 482 536 538
rect 456 296 536 482
rect 936 538 1016 548
rect 936 482 948 538
rect 1004 482 1016 538
rect 936 472 1016 482
rect 1140 538 1220 548
rect 1140 482 1152 538
rect 1208 482 1220 538
rect 1140 296 1220 482
rect 1344 538 1424 842
rect 1646 830 1716 842
rect 1824 898 1904 1193
rect 2410 944 4202 956
rect 1824 842 2181 898
rect 1344 482 1356 538
rect 1412 482 1424 538
rect 1344 472 1424 482
rect 1824 538 1904 842
rect 1824 482 1836 538
rect 1892 482 1904 538
rect 1824 472 1904 482
rect 456 224 1220 296
rect 1350 170 1974 182
rect 1350 30 1362 170
rect 1962 30 1974 170
rect -438 13 -358 23
rect 1350 18 1974 30
rect -438 -227 -426 13
rect -370 -227 -358 13
rect 2125 -200 2181 842
rect 2410 804 2422 944
rect 4190 804 4202 944
rect 2410 792 4202 804
rect 2684 541 3448 551
rect 2684 301 2696 541
rect 2752 301 3380 541
rect 3436 301 3448 541
rect 2684 291 3448 301
rect 4052 257 4132 267
rect 3164 207 3652 217
rect 3164 -33 3176 207
rect 3232 -33 3584 207
rect 3640 -33 3652 207
rect 3164 -43 3652 -33
rect 2574 -200 2670 -188
rect -616 -522 -546 -510
rect -912 -578 -604 -522
rect -548 -578 -546 -522
rect -616 -590 -546 -578
rect -438 -522 -358 -227
rect 1350 -230 1974 -218
rect 1350 -370 1362 -230
rect 1962 -370 1974 -230
rect 2125 -256 2594 -200
rect 2650 -256 2670 -200
rect 2574 -268 2670 -256
rect 3572 -278 3652 -43
rect 4052 17 4064 257
rect 4120 17 4132 257
rect 3874 -278 3944 -266
rect 3572 -334 3886 -278
rect 3942 -334 3944 -278
rect 3258 -356 3354 -346
rect 1350 -382 1974 -370
rect 2125 -412 3278 -356
rect 3334 -412 3354 -356
rect -438 -578 0 -522
rect -438 -882 -358 -578
rect -438 -938 -426 -882
rect -370 -938 -358 -882
rect -438 -948 -358 -938
rect -56 -1364 0 -578
rect 252 -907 1424 -897
rect 252 -1147 264 -907
rect 320 -1147 1356 -907
rect 1412 -1147 1424 -907
rect 252 -1157 1424 -1147
rect 346 -1364 424 -1352
rect -56 -1420 366 -1364
rect 422 -1420 424 -1364
rect 346 -1432 424 -1420
rect 1344 -1442 1424 -1157
rect 1824 -907 1904 -897
rect 1824 -1147 1836 -907
rect 1892 -1147 1904 -907
rect 1646 -1442 1716 -1430
rect 1344 -1498 1658 -1442
rect 1714 -1498 1716 -1442
rect 1166 -1520 1236 -1508
rect -1024 -1576 1178 -1520
rect 1234 -1576 1236 -1520
rect 1166 -1588 1236 -1576
rect 456 -1802 536 -1792
rect 456 -1858 468 -1802
rect 524 -1858 536 -1802
rect 456 -2044 536 -1858
rect 936 -1802 1016 -1792
rect 936 -1858 948 -1802
rect 1004 -1858 1016 -1802
rect 936 -1868 1016 -1858
rect 1140 -1802 1220 -1792
rect 1140 -1858 1152 -1802
rect 1208 -1858 1220 -1802
rect 1140 -2044 1220 -1858
rect 1344 -1802 1424 -1498
rect 1646 -1510 1716 -1498
rect 1824 -1442 1904 -1147
rect 2125 -1442 2181 -412
rect 3258 -422 3354 -412
rect 3572 -628 3652 -334
rect 3874 -346 3944 -334
rect 4052 -278 4132 17
rect 4052 -334 4350 -278
rect 2480 -638 3652 -628
rect 2480 -694 2492 -638
rect 2548 -694 3380 -638
rect 3436 -694 3652 -638
rect 2480 -704 3652 -694
rect 4052 -638 4132 -334
rect 4052 -694 4064 -638
rect 4120 -694 4132 -638
rect 4052 -704 4132 -694
rect 2410 -1016 4202 -1004
rect 2410 -1156 2422 -1016
rect 4190 -1156 4202 -1016
rect 2410 -1168 4202 -1156
rect 1824 -1498 2181 -1442
rect 1344 -1858 1356 -1802
rect 1412 -1858 1424 -1802
rect 1344 -1868 1424 -1858
rect 1824 -1802 1904 -1498
rect 1824 -1858 1836 -1802
rect 1892 -1858 1904 -1802
rect 1824 -1868 1904 -1858
rect 456 -2116 1220 -2044
<< via2 >>
rect 948 482 1004 538
rect 1356 482 1412 538
rect 1362 30 1962 170
rect 2422 804 4190 944
rect 1362 -370 1962 -230
rect 948 -1858 1004 -1802
rect 2422 -1156 4190 -1016
rect 1356 -1858 1412 -1802
<< metal3 >>
rect 2410 944 4202 956
rect 2410 804 2422 944
rect 4190 804 4202 944
rect 936 538 1424 548
rect 936 482 948 538
rect 1004 482 1356 538
rect 1412 482 1424 538
rect 936 472 1424 482
rect 1350 170 1974 182
rect 1350 30 1362 170
rect 1962 30 1974 170
rect 1350 18 1974 30
rect 2410 -218 4202 804
rect 1350 -230 4202 -218
rect 1350 -370 1362 -230
rect 1962 -370 4202 -230
rect 1350 -382 4202 -370
rect 2410 -1016 4202 -1004
rect 2410 -1156 2422 -1016
rect 4190 -1156 4202 -1016
rect 2410 -1168 4202 -1156
rect 936 -1802 1424 -1792
rect 936 -1858 948 -1802
rect 1004 -1858 1356 -1802
rect 1412 -1858 1424 -1802
rect 936 -1868 1424 -1858
<< via3 >>
rect 1362 30 1962 170
rect 2422 -1156 4190 -1016
<< metal4 >>
rect 1350 170 4202 182
rect 1350 30 1362 170
rect 1962 30 4202 170
rect 1350 18 4202 30
rect 2410 -1016 4202 18
rect 2410 -1156 2422 -1016
rect 4190 -1156 4202 -1016
rect 2410 -1168 4202 -1156
<< labels >>
rlabel metal2 -1024 947 -1024 947 7 Bit
port 0 w
rlabel metal2 -1024 791 -1024 791 7 Load
port 1 w
rlabel metal1 -469 2140 -469 2140 1 VDD
port 2 n
rlabel metal2 4350 -306 4350 -306 3 OUT
port 3 e
rlabel metal1 -500 -2340 -500 -2340 5 VSS
port 4 s
rlabel metal2 -1024 -1549 -1024 -1549 7 In
port 5 w
rlabel metal1 3299 967 3299 967 1 or2_0.VDD
rlabel metal1 3314 -1179 3314 -1179 5 or2_0.VSS
rlabel metal2 4294 -306 4294 -306 3 or2_0.OUT
rlabel metal2 2262 -229 2262 -229 7 or2_0.A
rlabel metal2 2262 -384 2262 -384 7 or2_0.B
rlabel metal2 -800 -549 -800 -549 7 inv2_0.in
rlabel metal1 -505 720 -505 720 1 inv2_0.vdd
rlabel metal2 -200 -549 -200 -549 3 inv2_0.out
rlabel metal1 -495 -1420 -495 -1420 5 inv2_0.vss
rlabel metal1 1067 -200 1067 -200 1 and2_1.VDD
rlabel metal2 2069 -1472 2069 -1472 3 and2_1.OUT
rlabel metal2 0 -1393 0 -1393 7 and2_1.A
rlabel metal2 0 -1548 0 -1548 7 and2_1.B
rlabel metal1 1126 -2340 1126 -2340 5 and2_1.VSS
rlabel metal1 1067 2140 1067 2140 1 and2_0.VDD
rlabel metal2 2069 868 2069 868 3 and2_0.OUT
rlabel metal2 0 947 0 947 7 and2_0.A
rlabel metal2 0 792 0 792 7 and2_0.B
rlabel metal1 1126 0 1126 0 5 and2_0.VSS
<< end >>
